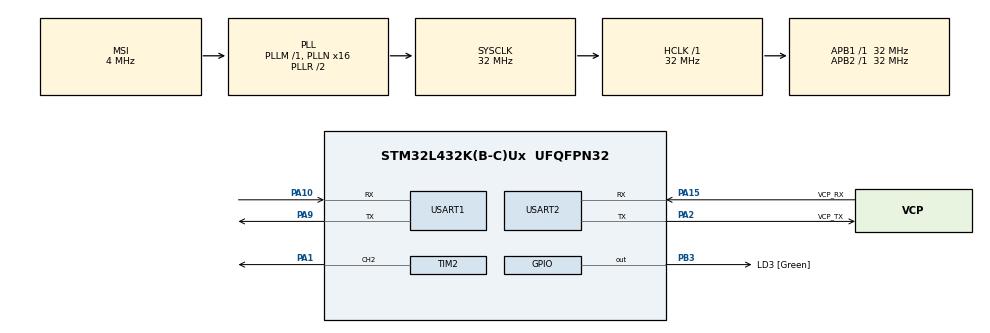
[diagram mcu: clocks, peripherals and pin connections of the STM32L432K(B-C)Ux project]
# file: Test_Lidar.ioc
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Mcu.Family=STM32L4
Mcu.Name=STM32L432K(B-C)Ux
Mcu.Package=UFQFPN32
NVIC.PriorityGroup=NVIC_PRIORITYGROUP_4
NVIC.TIM2_IRQn=true\:0\:0\:false\:false\:true\:true\:true\:true
NVIC.USART1_IRQn=true\:0\:0\:false\:false\:true\:true\:true\:true
PA0.GPIO_Label=MCO [High speed clock in]
PA0.Mode=HSE-External-Clock-Source-for-LittleOrca
PA0.Signal=RCC_CK_IN
PA1.Signal=S_TIM2_CH2
PA10.Mode=Asynchronous
PA10.Signal=USART1_RX
PA13\ (JTMS-SWDIO).GPIO_Label=SWDIO
PA13\ (JTMS-SWDIO).Mode=Serial_Wire
PA13\ (JTMS-SWDIO).Signal=SYS_JTMS-SWDIO
PA14\ (JTCK-SWCLK).GPIO_Label=SWCLK
PA14\ (JTCK-SWCLK).Mode=Serial_Wire
PA14\ (JTCK-SWCLK).Signal=SYS_JTCK-SWCLK
PA15\ (JTDI).GPIO_Label=VCP_RX
PA15\ (JTDI).Mode=Asynchronous
PA15\ (JTDI).Signal=USART2_RX
PA2.GPIO_Label=VCP_TX
PA2.Mode=Asynchronous
PA2.Signal=USART2_TX
PA9.Mode=Asynchronous
PA9.Signal=USART1_TX
PB3\ (JTDO-TRACESWO).GPIO_Label=LD3 [Green]
PB3\ (JTDO-TRACESWO).Signal=GPIO_Output
PC14-OSC32_IN\ (PC14).Mode=LSE-External-Oscillator
PC14-OSC32_IN\ (PC14).Signal=RCC_OSC32_IN
PC15-OSC32_OUT\ (PC15).Mode=LSE-External-Oscillator
PC15-OSC32_OUT\ (PC15).Signal=RCC_OSC32_OUT
ProjectManager.HeapSize=0x200
ProjectManager.StackSize=0x400
ProjectManager.TargetToolchain=STM32CubeIDE
RCC.AHBFreq_Value=32000000
RCC.APB1Freq_Value=32000000
RCC.APB1TimFreq_Value=32000000
RCC.APB2Freq_Value=32000000
RCC.APB2TimFreq_Value=32000000
RCC.CortexFreq_Value=32000000
RCC.HCLKFreq_Value=32000000
RCC.HSE_VALUE=8000000
RCC.HSI16_VALUE=16000000
RCC.HSI48_VALUE=48000000
RCC.HSI_VALUE=16000000
RCC.MSI_VALUE=4000000
RCC.PLLMUL=RCC_PLLMUL_4
RCC.PLLN=16
RCC.SYSCLKFreq_VALUE=32000000
RCC.SYSCLKSource=RCC_SYSCLKSOURCE_PLLCLK
RCC.VCOOutputFreq_Value=64000000
SH.S_TIM2_CH2.0=TIM2_CH2,PWM Generation2 CH2
TIM2.Channel-PWM\ Generation2\ CH2=TIM_CHANNEL_2
TIM2.Period=20000
USART1.VirtualMode-Asynchronous=VM_ASYNC
USART2.VirtualMode-Asynchronous=VM_ASYNC
board=NUCLEO-L432KC

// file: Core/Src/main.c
/* USER CODE BEGIN Header */
/**
  ******************************************************************************
  * @file           : main.c
  * @brief          : Main program body
  ******************************************************************************
  * @attention
  *
  * Copyright (c) 2025 STMicroelectronics.
  * All rights reserved.
  *
  * This software is licensed under terms that can be found in the LICENSE file
  * in the root directory of this software component.
  * If no LICENSE file comes with this software, it is provided AS-IS.
  *
  ******************************************************************************
  */
/* USER CODE END Header */
#include "main.h"

TIM_HandleTypeDef htim2;

UART_HandleTypeDef huart1;
UART_HandleTypeDef huart2;

void SystemClock_Config(void);
static void MX_GPIO_Init(void);
static void MX_USART2_UART_Init(void);
static void MX_TIM2_Init(void);
static void MX_USART1_UART_Init(void);

/* USER CODE BEGIN 0 */

////////////////////// Variables pour le Lidar //////////////
uint8_t Data_RX_LIDAR;
uint16_t Data_Lidar_mm[360];
uint8_t drapeau_fin_tour = 0;
uint16_t data_lidar_mm_main[360];

/* USER CODE END 0 */

int main(void)
{
  /* USER CODE BEGIN 1 */

	uint8_t drapeau_fin_tour_old = 0; // Variable pour le Lidar
	uint32_t i = 0;

  /* USER CODE END 1 */

  /* MCU Configuration--------------------------------------------------------*/

  /* Reset of all peripherals, Initializes the Flash interface and the Systick. */
  HAL_Init();

  /* Configure the system clock */
  SystemClock_Config();

  /* Initialize all configured peripherals */
  MX_GPIO_Init();
  MX_USART2_UART_Init();
  MX_TIM2_Init();
  MX_USART1_UART_Init();
  /* USER CODE BEGIN 2 */

  /// Initialisation du Lidar ///
  HAL_UART_Receive_IT(&huart1, &Data_RX_LIDAR, 1);

  /* USER CODE END 2 */

  /* Infinite loop */
  while (1)
  {

  }
}

void SystemClock_Config(void)
{
  RCC_OscInitTypeDef RCC_OscInitStruct = {0};
  RCC_ClkInitTypeDef RCC_ClkInitStruct = {0};

  /** Configure the main internal regulator output voltage
  */
  if (HAL_PWREx_ControlVoltageScaling(PWR_REGULATOR_VOLTAGE_SCALE1) != HAL_OK)
  {
    Error_Handler();
  }

  /** Configure LSE Drive Capability
  */
  HAL_PWR_EnableBkUpAccess();
  __HAL_RCC_LSEDRIVE_CONFIG(RCC_LSEDRIVE_LOW);

  /** Initializes the RCC Oscillators according to the specified parameters
  * in the RCC_OscInitTypeDef structure.
  */
  RCC_OscInitStruct.OscillatorType = RCC_OSCILLATORTYPE_LSE|RCC_OSCILLATORTYPE_MSI;
  RCC_OscInitStruct.LSEState = RCC_LSE_ON;
  RCC_OscInitStruct.MSIState = RCC_MSI_ON;
  RCC_OscInitStruct.MSICalibrationValue = 0;
  RCC_OscInitStruct.MSIClockRange = RCC_MSIRANGE_6;
  RCC_OscInitStruct.PLL.PLLState = RCC_PLL_ON;
  RCC_OscInitStruct.PLL.PLLSource = RCC_PLLSOURCE_MSI;
  RCC_OscInitStruct.PLL.PLLM = 1;
  RCC_OscInitStruct.PLL.PLLN = 16;
  RCC_OscInitStruct.PLL.PLLP = RCC_PLLP_DIV7;
  RCC_OscInitStruct.PLL.PLLQ = RCC_PLLQ_DIV2;
  RCC_OscInitStruct.PLL.PLLR = RCC_PLLR_DIV2;
  if (HAL_RCC_OscConfig(&RCC_OscInitStruct) != HAL_OK)
  {
    Error_Handler();
  }

  /** Initializes the CPU, AHB and APB buses clocks
  */
  RCC_ClkInitStruct.ClockType = RCC_CLOCKTYPE_HCLK|RCC_CLOCKTYPE_SYSCLK
                              |RCC_CLOCKTYPE_PCLK1|RCC_CLOCKTYPE_PCLK2;
  RCC_ClkInitStruct.SYSCLKSource = RCC_SYSCLKSOURCE_PLLCLK;
  RCC_ClkInitStruct.AHBCLKDivider = RCC_SYSCLK_DIV1;
  RCC_ClkInitStruct.APB1CLKDivider = RCC_HCLK_DIV1;
  RCC_ClkInitStruct.APB2CLKDivider = RCC_HCLK_DIV1;

  if (HAL_RCC_ClockConfig(&RCC_ClkInitStruct, FLASH_LATENCY_1) != HAL_OK)
  {
    Error_Handler();
  }

  /** Enable MSI Auto calibration
  */
  HAL_RCCEx_EnableMSIPLLMode();
}

static void MX_TIM2_Init(void)
{

  TIM_MasterConfigTypeDef sMasterConfig = {0};
  TIM_OC_InitTypeDef sConfigOC = {0};

  htim2.Instance = TIM2;
  htim2.Init.Prescaler = 0;
  htim2.Init.CounterMode = TIM_COUNTERMODE_UP;
  htim2.Init.Period = 20000;
  htim2.Init.ClockDivision = TIM_CLOCKDIVISION_DIV1;
  htim2.Init.AutoReloadPreload = TIM_AUTORELOAD_PRELOAD_DISABLE;
  if (HAL_TIM_PWM_Init(&htim2) != HAL_OK)
  {
    Error_Handler();
  }
  sMasterConfig.MasterOutputTrigger = TIM_TRGO_RESET;
  sMasterConfig.MasterSlaveMode = TIM_MASTERSLAVEMODE_DISABLE;
  if (HAL_TIMEx_MasterConfigSynchronization(&htim2, &sMasterConfig) != HAL_OK)
  {
    Error_Handler();
  }
  sConfigOC.OCMode = TIM_OCMODE_PWM1;
  sConfigOC.Pulse = 0;
  sConfigOC.OCPolarity = TIM_OCPOLARITY_HIGH;
  sConfigOC.OCFastMode = TIM_OCFAST_DISABLE;
  if (HAL_TIM_PWM_ConfigChannel(&htim2, &sConfigOC, TIM_CHANNEL_2) != HAL_OK)
  {
    Error_Handler();
  }
  HAL_TIM_MspPostInit(&htim2);

}

static void MX_USART1_UART_Init(void)
{

  huart1.Instance = USART1;
  huart1.Init.BaudRate = 115200;
  huart1.Init.WordLength = UART_WORDLENGTH_8B;
  huart1.Init.StopBits = UART_STOPBITS_1;
  huart1.Init.Parity = UART_PARITY_NONE;
  huart1.Init.Mode = UART_MODE_TX_RX;
  huart1.Init.HwFlowCtl = UART_HWCONTROL_NONE;
  huart1.Init.OverSampling = UART_OVERSAMPLING_16;
  huart1.Init.OneBitSampling = UART_ONE_BIT_SAMPLE_DISABLE;
  huart1.AdvancedInit.AdvFeatureInit = UART_ADVFEATURE_NO_INIT;
  if (HAL_UART_Init(&huart1) != HAL_OK)
  {
    Error_Handler();
  }

}

static void MX_USART2_UART_Init(void)
{

  huart2.Instance = USART2;
  huart2.Init.BaudRate = 115200;
  huart2.Init.WordLength = UART_WORDLENGTH_8B;
  huart2.Init.StopBits = UART_STOPBITS_1;
  huart2.Init.Parity = UART_PARITY_NONE;
  huart2.Init.Mode = UART_MODE_TX_RX;
  huart2.Init.HwFlowCtl = UART_HWCONTROL_NONE;
  huart2.Init.OverSampling = UART_OVERSAMPLING_16;
  huart2.Init.OneBitSampling = UART_ONE_BIT_SAMPLE_DISABLE;
  huart2.AdvancedInit.AdvFeatureInit = UART_ADVFEATURE_NO_INIT;
  if (HAL_UART_Init(&huart2) != HAL_OK)
  {
    Error_Handler();
  }

}

static void MX_GPIO_Init(void)
{
  GPIO_InitTypeDef GPIO_InitStruct = {0};

  /* GPIO Ports Clock Enable */
  __HAL_RCC_GPIOC_CLK_ENABLE();
  __HAL_RCC_GPIOA_CLK_ENABLE();
  __HAL_RCC_GPIOB_CLK_ENABLE();

  /*Configure GPIO pin Output Level */
  HAL_GPIO_WritePin(LD3_GPIO_Port, LD3_Pin, GPIO_PIN_RESET);

  /*Configure GPIO pin : LD3_Pin */
  GPIO_InitStruct.Pin = LD3_Pin;
  GPIO_InitStruct.Mode = GPIO_MODE_OUTPUT_PP;
  GPIO_InitStruct.Pull = GPIO_NOPULL;
  GPIO_InitStruct.Speed = GPIO_SPEED_FREQ_LOW;
  HAL_GPIO_Init(LD3_GPIO_Port, &GPIO_InitStruct);

}

/* USER CODE BEGIN 4 */
void HAL_UART_RxCpltCallback(UART_HandleTypeDef *huart) {
    static uint32_t index = 0;
    static uint8_t drapeau_demarrage = 0;  // Variable indiquant pour réception des 7 1ers octets
    static uint8_t tableau_trame[7];       // Variable de stockage des 7 premiers octets
    uint16_t angle;
    uint16_t distance;

    ///////////////////////////////////////////////////////
    /////// Réception des sept octets correspondant au descriptor
    ///////////////////////////////////////////////////////
    if (drapeau_demarrage == 0) {
        tableau_trame[index] = Data_RX_LIDAR;
        index++;
    }

    if ((index == 7) && (drapeau_demarrage == 0)) {
        index = 0;
        drapeau_demarrage = 1; // Fin des sept octets du descriptor
    }

    ///////////////////////////////////////////////////////
    /////// Réception des données par groupe de 5 octets
    /////// Qualité (1 octet), Angle (2 octets) et Distance (2 octets)
    ///////////////////////////////////////////////////////
    if (drapeau_demarrage == 1) {
        if (index <= 4) {
            if ((Data_RX_LIDAR == 0x3e) || (Data_RX_LIDAR == 0x3d)) { // début de trame de qualité 15
                index = 0;
            }
            tableau_trame[index] = Data_RX_LIDAR;
            if (tableau_trame[0] > 0x02) {
                index++;
            }
        }

        ///////////////////////////////////////////////////
        /////// Traitement de données pour convertir
        /////// les octets reçus en données réelles
        ///////////////////////////////////////////////////
        if (index >= 5) {
            index = 0;

            angle = ((uint16_t)tableau_trame[2] << 1) +
                    ((uint16_t)tableau_trame[1] >> 7);
            distance = ((uint16_t)tableau_trame[4] << 6) +
                       ((uint16_t)tableau_trame[3] >> 2);

            // Stockage de la distance mesurée dans le tableau à l'indice associé à l'angle
            if (angle == 0) {
                Data_Lidar_mm[0] = distance;
            }

            if ((angle < 360) && (angle > 0)) {
                Data_Lidar_mm[360 - angle] = distance;
            }

            ///////////////////////////////////////////
            /////// Détection de la fin d'un tour
            ///////////////////////////////////////////
            if ((angle > 100) && (angle < 180) && (drapeau_fin_tour == 0)) {
                drapeau_fin_tour = 1;
            }
            if ((angle > 270) && (angle < 360) && (drapeau_fin_tour == 1)) {
                drapeau_fin_tour = 0;
            }
        }
    }

    // Ré-activation de l'interruption UART RX
    HAL_UART_Receive_IT(&huart1, &Data_RX_LIDAR, 1);
}

/* USER CODE END 4 */

void Error_Handler(void)
{
  __disable_irq();
  while (1)
  {
  }
}
